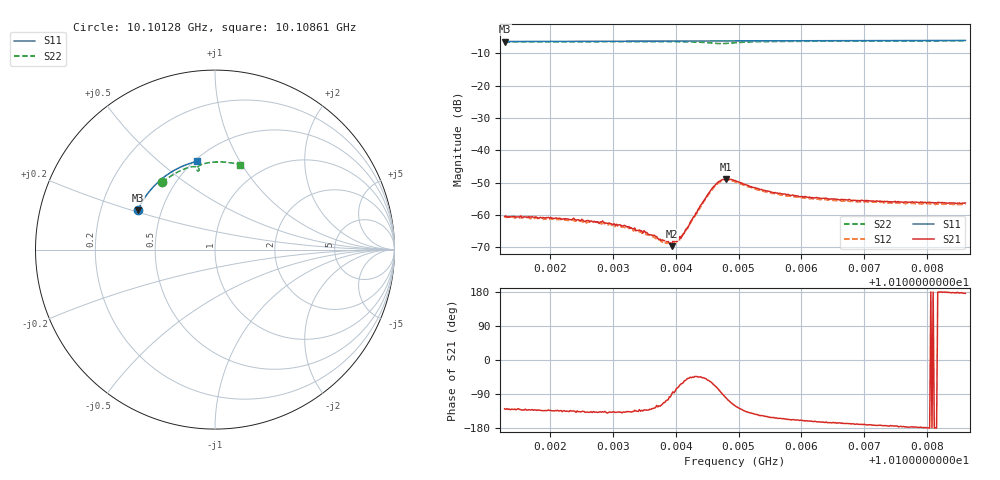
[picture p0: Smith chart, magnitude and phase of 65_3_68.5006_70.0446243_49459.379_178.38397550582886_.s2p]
#  HZ  S  RI  R  50.00
! Rohde & Schwarz Vector Network Analyzer
! Rohde-Schwarz,ZNB20-2Port,1311601062101988,3.16
! Created: UTC 3/20/2024, 5:06:40 PM
! freq[Hz]  re:S11  im:S11  re:S21  im:S21  re:S12  im:S12  re:S22  im:S22
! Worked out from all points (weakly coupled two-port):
!   401 points, 10.10128 GHz to 10.10861 GHz, reference 50 ohm
!   highest |S21| = -48.88 dB at 10.1048 GHz (marker M1); lowest = -69.7 dB at 10.10393 GHz (marker M2)
!   lowest |S11| = -6.3 dB at 10.10128 GHz (marker M3), VSWR 2.87, Z = 18.3 + j10.4 ohm
!   |S11| at or under -10 dB: nowhere
!   |S22| runs from -7.0 to -6.1 dB; largest |S21 - S12| = 0.00036
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1.0101276e10  -0.4302 0.2186  -0.00059 -0.000736  -0.000501 -0.000772  -0.2928 0.374
1.0101973e10  -0.4113 0.2566  -0.000612 -0.000682  -0.000556 -0.00065  -0.2572 0.4018
1.0102504e10  -0.3946 0.2844  -0.000614 -0.000595  -0.000529 -0.000604  -0.2281 0.4209
1.0102724e10  -0.3873 0.2955  -0.000576 -0.000529  -0.000537 -0.000548  -0.2153 0.428
1.0103219e10  -0.3696 0.3197  -0.000469 -0.000455  -0.000432 -0.000471  -0.1858 0.4428
1.0103531e10  -0.3575 0.3344  -0.000359 -0.0004  -0.000289 -0.000398  -0.166 0.4512
1.0103733e10  -0.3496 0.3436  -0.000212 -0.000354  -0.000161 -0.000377  -0.1524 0.4556
1.0103824e10  -0.3458 0.3477  -0.000153 -0.00037  -0.000111 -0.000343  -0.1459 0.4576
1.0103898e10  -0.3427 0.3509  -4.49e-05 -0.000357  -4.36e-05 -0.000373  -0.1407 0.459
1.0103934e10  -0.3412 0.3525  -1.2e-06 -0.000328  1.77e-05 -0.000357  -0.1379 0.4596
1.0104026e10  -0.3373 0.3566  0.00011 -0.000375  0.000144 -0.000375  -0.1311 0.4608
1.0104118e10  -0.3334 0.3606  0.000254 -0.000442  0.000308 -0.000389  -0.1238 0.4618
1.0104393e10  -0.3214 0.3722  0.001 -0.000982  0.00101 -0.000848  -0.1002 0.4594
1.0104595e10  -0.3124 0.3804  0.0012 -0.00241  0.00137 -0.00216  -0.0882 0.4462
1.0104705e10  -0.3074 0.3846  0.000457 -0.00333  0.000725 -0.00314  -0.0919 0.4387
1.0104796e10  -0.3034 0.3884  -0.000573 -0.00355  -0.000256 -0.00343  -0.0983 0.4398
1.0104943e10  -0.2966 0.3941  -0.00174 -0.00291  -0.00141 -0.00292  -0.1008 0.4512
1.01052e10  -0.2845 0.4038  -0.00209 -0.00176  -0.00187 -0.00187  -0.0867 0.4682
1.0105493e10  -0.2702 0.4145  -0.00202 -0.00112  -0.00182 -0.00127  -0.0655 0.4775
1.0106171e10  -0.2357 0.4368  -0.00176 -0.000579  -0.00163 -0.000729  -0.0187 0.4865
1.01074e10  -0.1691 0.4695  -0.00159 -0.000148  -0.0015 -0.00032  0.0619 0.4867
1.010861e10  -0.0994 0.4913  -0.00152 0.000108  -0.00145 -7.08e-05  0.1384 0.4736
